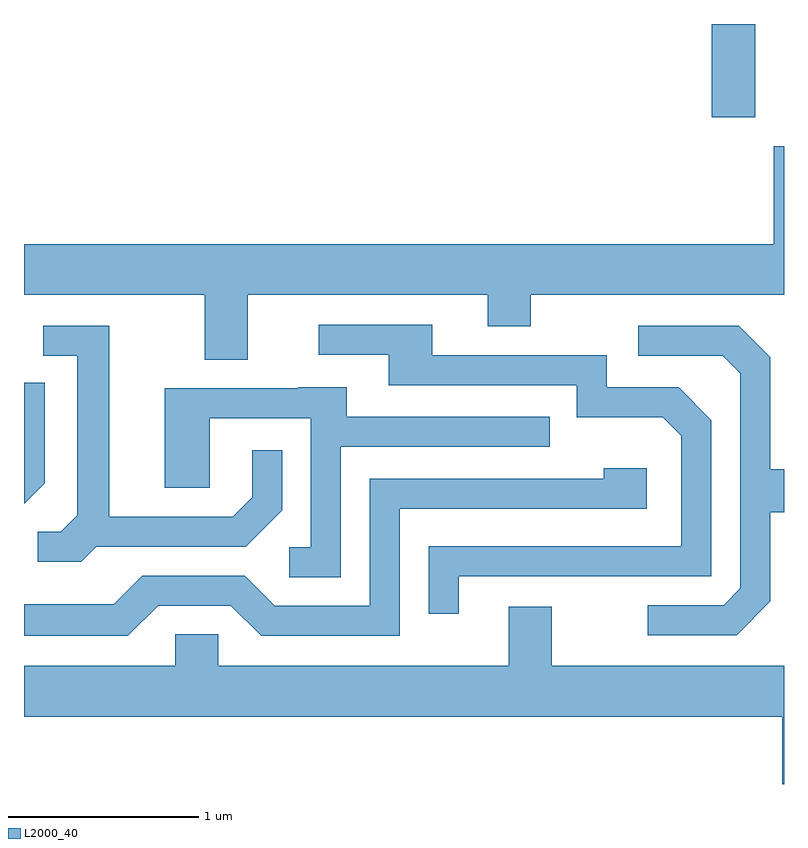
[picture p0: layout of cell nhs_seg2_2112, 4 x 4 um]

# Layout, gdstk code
import gdstk
lib = gdstk.Library(unit=1e-6, precision=1e-09)
def R(c, l, rs):  # rectangles x0, y0, x1, y1
    for r in rs: c.add(gdstk.rectangle(r[:2], r[2:], *l))
def P(c, l, *ps):  # polygons
    for p in ps: c.add(gdstk.Polygon(p, *l))
L2000_40 = (2000, 40)

nhs_seg2_2112 = lib.new_cell('nhs_seg2_2112')
R(nhs_seg2_2112, L2000_40, [(251.231,989.311,251.459,989.802)])
P(nhs_seg2_2112, L2000_40, [(248.789,988.376),(250.051,988.376),(250.051,988.211),(250.279,988.211),(250.279,988.376),(251.611,988.376),(251.611,989.159),(251.556,989.159),(251.556,988.644),(247.611,988.644),(247.611,988.376),(248.561,988.376),(248.561,988.036),(248.789,988.036)],
  [(249.899,986.896),(251.229,986.896),(251.229,987.717),(251.057,987.889),(250.679,987.889),(250.679,988.059),(249.759,988.059),(249.759,988.219),(249.163,988.219),(249.163,988.061),(249.531,988.061),(249.531,987.901),(250.521,987.901),(250.521,987.731),(250.974,987.731),(251.071,987.634),(251.071,987.054),(249.741,987.054),(249.741,986.698),(249.899,986.698)],
  [(251.539,986.764),(251.539,987.231),(251.611,987.231),(251.611,987.459),(251.539,987.459),(251.539,988.047),(251.372,988.214),(250.843,988.214),(250.843,988.056),(251.289,988.056),(251.381,987.964),(251.381,986.832),(251.294,986.744),(250.893,986.744),(250.893,986.586),(251.362,986.586)],
  [(247.992,987.051),(248.777,987.051),(248.969,987.244),(248.969,987.558),(248.811,987.558),(248.811,987.312),(248.709,987.209),(248.059,987.209),(248.059,988.214),(247.713,988.214),(247.713,988.056),(247.891,988.056),(247.891,987.217),(247.804,987.129),(247.683,987.129),(247.683,986.971),(247.912,986.971)],
  [(247.719,987.384),(247.719,987.913),(247.611,987.913),(247.611,987.276)],
  [(249.279,987.576),(250.378,987.576),(250.378,987.734),(249.309,987.734),(249.309,987.889),(249.055,987.889),(249.055,987.884),(248.351,987.884),(248.351,987.361),(248.589,987.361),(248.589,987.726),(249.121,987.726),(249.121,987.049),(249.008,987.049),(249.008,986.891),(249.279,986.891)],
  [(248.317,986.741),(248.699,986.741),(248.859,986.581),(249.589,986.581),(249.589,987.251),(250.889,987.251),(250.889,987.464),(250.661,987.464),(250.661,987.409),(249.431,987.409),(249.431,986.739),(248.932,986.739),(248.772,986.899),(248.234,986.899),(248.084,986.749),(247.611,986.749),(247.611,986.581),(248.157,986.581)],
  [(251.611,986.424),(250.389,986.424),(250.389,986.734),(250.161,986.734),(250.161,986.424),(248.634,986.424),(248.634,986.589),(248.406,986.589),(248.406,986.424),(247.611,986.424),(247.611,986.156),(251.601,986.156),(251.601,985.802),(251.611,985.802)])

lib.write_gds('nhs_seg2_2112.gds')
